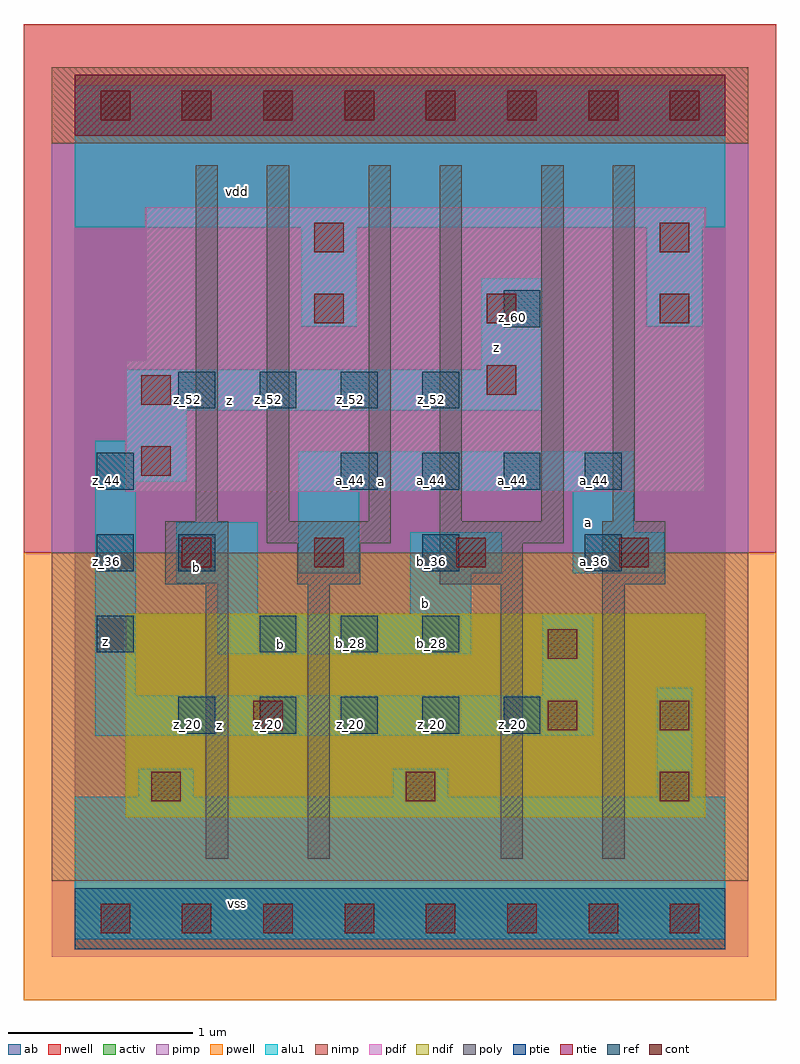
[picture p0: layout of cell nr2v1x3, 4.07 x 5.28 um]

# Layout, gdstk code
import gdstk
lib = gdstk.Library(unit=1e-6, precision=2.5e-09)
def R(c, l, rs):  # rectangles x0, y0, x1, y1
    for r in rs: c.add(gdstk.rectangle(r[:2], r[2:], *l))
def A(c, l, x, y, w, h, nx, ny, dx, dy):  # array of equal rectangles
    R(c, l, [(x+i*dx, y+j*dy, x+i*dx+w, y+j*dy+h) for i in range(nx) for j in range(ny)])
ndif = (3, 0)
pdif = (4, 0)
ntie = (5, 0)
ptie = (6, 0)
ref = (24, 0)
cont = (25, 0)
pwell = (41, 0)
nwell = (42, 0)
activ = (43, 0)
pimp = (44, 0)
nimp = (45, 0)
poly = (46, 0)
alu1 = (49, 0)
ab = (63, 0)

nr2v1x3 = lib.new_cell('nr2v1x3')
R(nr2v1x3, ndif, [(0.275,0.55,3.41,1.65)])
R(nr2v1x3, pdif, [(0.275,2.31,3.41,3.025), (0.385,3.025,3.41,3.85)])
R(nr2v1x3, ntie, [(0,4.235,3.52,4.565)])
R(nr2v1x3, ptie, [(0,-0.165,3.52,0.165)])
A(nr2v1x3, ref, 0.56, 1, 0.2, 0.2, 5, 1, 0.44, 0)
A(nr2v1x3, ref, 0.12, 1.44, 0.2, 0.2, 1, 3, 0, 0.44)
A(nr2v1x3, ref, 1, 1.44, 0.2, 0.2, 3, 1, 0.44, 0)
A(nr2v1x3, ref, 1.44, 2.32, 0.2, 0.2, 4, 1, 0.44, 0)
A(nr2v1x3, ref, 0.56, 2.76, 0.2, 0.2, 4, 1, 0.44, 0)
R(nr2v1x3, ref, [(0.56,1.88,0.76,2.08), (1.88,1.88,2.08,2.08), (2.76,1.88,2.96,2.08), (2.32,3.2,2.52,3.4)])
A(nr2v1x3, cont, 0.14, -0.08, 0.16, 0.16, 8, 2, 0.44, 4.4)
A(nr2v1x3, cont, 0.415, 0.635, 0.16, 0.16, 3, 1, 1.375, 0)
A(nr2v1x3, cont, 1.295, 3.22, 0.16, 0.16, 3, 1, 0.935, 0)
R(nr2v1x3, cont, [(0.965,1.02,1.125,1.18), (2.56,1.02,2.72,1.18), (3.165,1.02,3.325,1.18), (2.56,1.405,2.72,1.565), (0.58,1.9,0.74,2.06), (1.295,1.9,1.455,2.06), (2.065,1.9,2.225,2.06), (2.945,1.9,3.105,2.06), (0.36,2.395,0.52,2.555), (0.36,2.78,0.52,2.94), (2.23,2.835,2.39,2.995), (1.295,3.605,1.455,3.765), (3.165,3.605,3.325,3.765)])
R(nr2v1x3, pwell, [(-0.275,-0.44,3.795,1.98)])
R(nr2v1x3, nwell, [(-0.275,1.98,3.795,4.84)])
R(nr2v1x3, activ, [(0,-0.165,3.52,0.165), (0.275,0.55,3.41,1.65), (0.275,2.31,3.41,3.025), (0.385,3.025,3.41,3.85), (0,4.235,3.52,4.565)])
R(nr2v1x3, pimp, [(-0.125,-0.205,3.645,0.205), (-0.125,1.98,3.645,4.195)])
R(nr2v1x3, nimp, [(-0.125,0.205,3.645,1.98), (-0.125,4.195,3.645,4.605)])
R(nr2v1x3, poly, [(0.71,0.325,0.83,1.81), (1.26,0.325,1.38,1.81), (2.305,0.325,2.425,1.81), (2.855,0.325,2.975,1.81), (0.49,1.81,0.83,2.15), (1.205,1.81,1.545,2.03), (1.975,1.81,2.425,2.03), (2.855,1.81,3.195,2.15), (1.04,2.03,1.71,2.15), (1.975,2.03,2.645,2.15), (0.655,2.15,0.775,4.075), (1.04,2.15,1.16,4.075), (1.59,2.15,1.71,4.075), (1.975,2.15,2.095,4.075), (2.525,2.15,2.645,4.075), (2.91,2.15,3.03,4.075)])
R(nr2v1x3, alu1, [(0,-0.11,3.52,0.66), (0.345,0.66,0.645,0.81), (1.72,0.66,2.02,0.81), (3.15,0.66,3.34,1.25), (0.11,0.99,2.805,1.21), (0.11,1.21,0.33,2.365), (2.53,1.21,2.805,1.65), (0.77,1.43,2.145,1.65), (0.77,1.65,0.99,1.815), (1.815,1.65,2.145,1.87), (0.55,1.815,0.99,2.145), (1.21,1.87,1.54,2.31), (1.815,1.87,2.31,2.09), (2.695,1.87,3.19,2.09), (2.695,2.09,3.025,2.31), (1.21,2.31,3.025,2.53), (0.11,2.365,0.605,2.585), (0.275,2.585,0.605,2.75), (0.275,2.75,2.53,2.97), (2.2,2.97,2.53,3.465), (1.225,3.205,1.525,3.74), (3.095,3.205,3.395,3.74), (0,3.74,3.52,4.51)])
R(nr2v1x3, ab, [(0,0,3.52,4.4)])
nr2v1x3.add(gdstk.Label('vss', (0.88,0.0825), layer=49, texttype=0))
nr2v1x3.add(gdstk.Label('z', (0.7825,1.045), layer=49, texttype=0))
nr2v1x3.add(gdstk.Label('b', (1.1125,1.485), layer=49, texttype=0))
nr2v1x3.add(gdstk.Label('b', (1.8975,1.705), layer=49, texttype=0))
nr2v1x3.add(gdstk.Label('a', (2.7775,2.145), layer=49, texttype=0))
nr2v1x3.add(gdstk.Label('b', (0.66,1.8975), layer=49, texttype=0))
nr2v1x3.add(gdstk.Label('a', (1.6625,2.365), layer=49, texttype=0))
nr2v1x3.add(gdstk.Label('z', (0.165,1.4975), layer=49, texttype=0))
nr2v1x3.add(gdstk.Label('z', (0.8375,2.805), layer=49, texttype=0))
nr2v1x3.add(gdstk.Label('z', (2.2825,3.0925), layer=49, texttype=0))
nr2v1x3.add(gdstk.Label('vdd', (0.88,3.9325), layer=49, texttype=0))
nr2v1x3.add(gdstk.Label('a_44', (2.81,2.37), layer=24, texttype=0))
nr2v1x3.add(gdstk.Label('a_36', (2.81,1.93), layer=24, texttype=0))
nr2v1x3.add(gdstk.Label('z_60', (2.37,3.25), layer=24, texttype=0))
nr2v1x3.add(gdstk.Label('a_44', (2.37,2.37), layer=24, texttype=0))
nr2v1x3.add(gdstk.Label('z_20', (2.37,1.05), layer=24, texttype=0))
nr2v1x3.add(gdstk.Label('z_44', (0.17,2.37), layer=24, texttype=0))
nr2v1x3.add(gdstk.Label('z_36', (0.17,1.93), layer=24, texttype=0))
nr2v1x3.add(gdstk.Label('z_28', (0.17,1.49), layer=24, texttype=0))
nr2v1x3.add(gdstk.Label('z_52', (1.93,2.81), layer=24, texttype=0))
nr2v1x3.add(gdstk.Label('a_44', (1.93,2.37), layer=24, texttype=0))
nr2v1x3.add(gdstk.Label('b_36', (1.93,1.93), layer=24, texttype=0))
nr2v1x3.add(gdstk.Label('b_28', (1.93,1.49), layer=24, texttype=0))
nr2v1x3.add(gdstk.Label('z_20', (1.93,1.05), layer=24, texttype=0))
nr2v1x3.add(gdstk.Label('z_52', (1.49,2.81), layer=24, texttype=0))
nr2v1x3.add(gdstk.Label('a_44', (1.49,2.37), layer=24, texttype=0))
nr2v1x3.add(gdstk.Label('b_28', (1.49,1.49), layer=24, texttype=0))
nr2v1x3.add(gdstk.Label('z_20', (1.49,1.05), layer=24, texttype=0))
nr2v1x3.add(gdstk.Label('z_52', (1.05,2.81), layer=24, texttype=0))
nr2v1x3.add(gdstk.Label('b_28', (1.05,1.49), layer=24, texttype=0))
nr2v1x3.add(gdstk.Label('z_20', (1.05,1.05), layer=24, texttype=0))
nr2v1x3.add(gdstk.Label('z_52', (0.61,2.81), layer=24, texttype=0))
nr2v1x3.add(gdstk.Label('b_36', (0.61,1.93), layer=24, texttype=0))
nr2v1x3.add(gdstk.Label('z_20', (0.61,1.05), layer=24, texttype=0))

lib.write_gds('nr2v1x3.gds')
